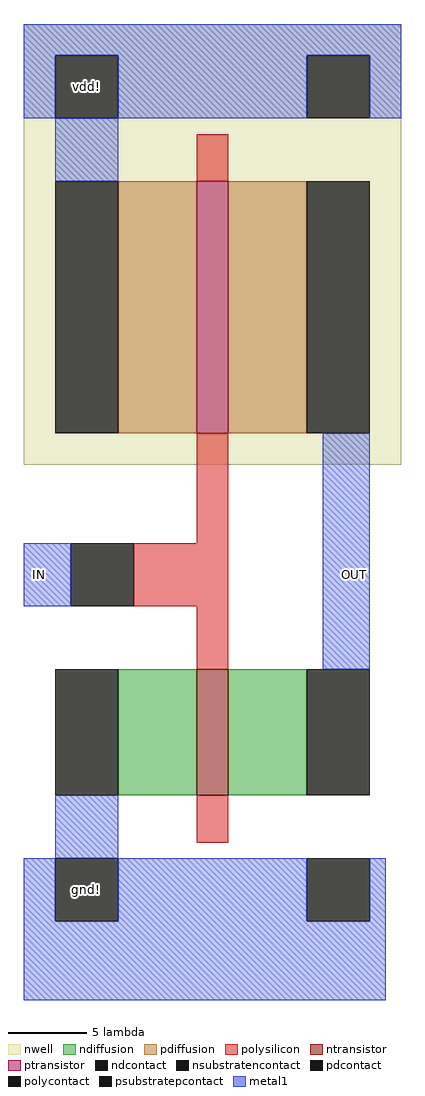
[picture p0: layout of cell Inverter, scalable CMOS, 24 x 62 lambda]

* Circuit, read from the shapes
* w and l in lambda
.subckt Inverter IN OUT gnd! vdd!
M1 OUT IN gnd! gnd! nfet w=8 l=2
M2 OUT IN vdd! vdd! pfet w=16 l=2
.ends

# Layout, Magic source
magic
tech scmos
<< nwell >>
rect -4 3 20 31
<< polysilicon >>
rect 7 21 9 24
rect 7 -2 9 5
rect 3 -6 9 -2
rect 7 -10 9 -6
rect 7 -21 9 -18
<< ndiffusion >>
rect 2 -18 7 -10
rect 9 -18 14 -10
<< pdiffusion >>
rect 2 5 7 21
rect 9 5 14 21
<< metal1 >>
rect -4 29 20 31
rect -4 25 -2 29
rect 2 25 14 29
rect 18 25 20 29
rect -2 21 2 25
rect -4 -6 -1 -2
rect 15 -10 18 5
rect -2 -22 2 -18
rect -4 -26 -2 -22
rect 2 -26 14 -22
rect 18 -26 19 -22
rect -4 -31 19 -26
<< ntransistor >>
rect 7 -18 9 -10
<< ptransistor >>
rect 7 5 9 21
<< polycontact >>
rect -1 -6 3 -2
<< ndcontact >>
rect -2 -18 2 -10
rect 14 -18 18 -10
<< pdcontact >>
rect -2 5 2 21
rect 14 5 18 21
<< psubstratepcontact >>
rect -2 -26 2 -22
rect 14 -26 18 -22
<< nsubstratencontact >>
rect -2 25 2 29
rect 14 25 18 29
<< labels >>
rlabel metal1 -3 -6 -3 -2 3 IN
rlabel nsubstratencontact -2 25 2 29 4 vdd!
rlabel psubstratepcontact -2 -26 2 -22 2 gnd!
rlabel metal1 17 -6 17 -2 7 OUT
<< end >>
